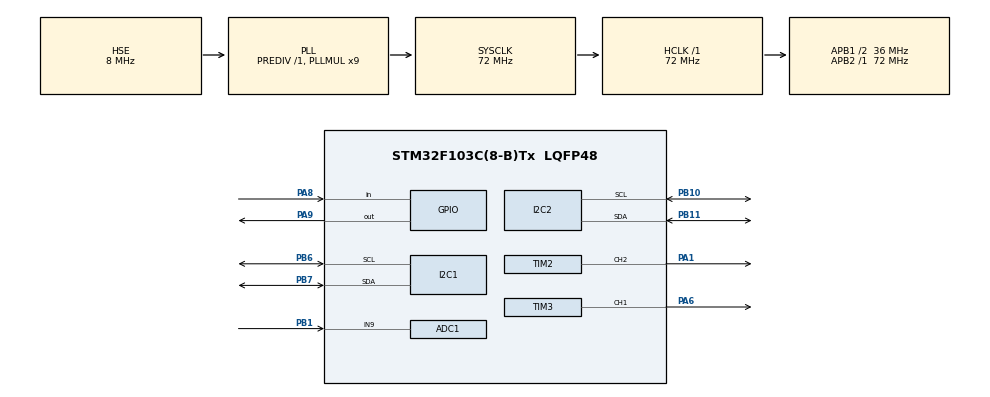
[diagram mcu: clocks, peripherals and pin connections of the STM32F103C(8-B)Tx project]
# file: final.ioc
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ADC1.Channel-1\#ChannelRegularConversion=ADC_CHANNEL_9
ADC1.ContinuousConvMode=ENABLE
ADC1.NbrOfConversionFlag=1
ADC1.Rank-1\#ChannelRegularConversion=1
ADC1.SamplingTime-1\#ChannelRegularConversion=ADC_SAMPLETIME_1CYCLE_5
ADC1.master=1
I2C2.I2C_Mode=I2C_Fast
Mcu.Family=STM32F1
Mcu.Name=STM32F103C(8-B)Tx
Mcu.Package=LQFP48
NVIC.PriorityGroup=NVIC_PRIORITYGROUP_4
PA1.Signal=S_TIM2_CH2
PA13.Mode=Serial_Wire
PA13.Signal=SYS_JTMS-SWDIO
PA14.Mode=Serial_Wire
PA14.Signal=SYS_JTCK-SWCLK
PA6.Signal=S_TIM3_CH1
PA8.Signal=GPIO_Input
PA9.Signal=GPIO_Output
PB1.Signal=ADCx_IN9
PB10.Mode=I2C
PB10.Signal=I2C2_SCL
PB11.Mode=I2C
PB11.Signal=I2C2_SDA
PB6.Mode=I2C
PB6.Signal=I2C1_SCL
PB7.Mode=I2C
PB7.Signal=I2C1_SDA
PD0-OSC_IN.Mode=HSE-External-Oscillator
PD0-OSC_IN.Signal=RCC_OSC_IN
PD1-OSC_OUT.Mode=HSE-External-Oscillator
PD1-OSC_OUT.Signal=RCC_OSC_OUT
ProjectManager.HeapSize=0x200
ProjectManager.StackSize=0x400
ProjectManager.TargetToolchain=STM32CubeIDE
RCC.ADCPresc=RCC_ADCPCLK2_DIV6
RCC.AHBFreq_Value=72000000
RCC.APB1CLKDivider=RCC_HCLK_DIV2
RCC.APB1Freq_Value=36000000
RCC.APB1TimFreq_Value=72000000
RCC.APB2Freq_Value=72000000
RCC.APB2TimFreq_Value=72000000
RCC.HCLKFreq_Value=72000000
RCC.PLLMUL=RCC_PLL_MUL9
RCC.PLLSourceVirtual=RCC_PLLSOURCE_HSE
RCC.SYSCLKFreq_VALUE=72000000
RCC.SYSCLKSource=RCC_SYSCLKSOURCE_PLLCLK
RCC.USBFreq_Value=72000000
SH.ADCx_IN9.0=ADC1_IN9,IN9
SH.S_TIM2_CH2.0=TIM2_CH2,PWM Generation2 CH2
SH.S_TIM3_CH1.0=TIM3_CH1,PWM Generation1 CH1
TIM1.Prescaler=71
TIM2.Channel-PWM\ Generation2\ CH2=TIM_CHANNEL_2
TIM2.OCMode_PWM-PWM\ Generation2\ CH2=TIM_OCMODE_PWM2
TIM2.Period=20
TIM2.Prescaler=127
TIM3.AutoReloadPreload=TIM_AUTORELOAD_PRELOAD_ENABLE
TIM3.Channel-PWM\ Generation1\ CH1=TIM_CHANNEL_1
VP_TIM1_VS_ClockSourceINT.Mode=Internal
VP_TIM2_VS_ClockSourceINT.Mode=Internal
board=custom

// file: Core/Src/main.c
/* USER CODE BEGIN Header */
/**
  ******************************************************************************
  * @file           : main.c
  * @brief          : Main program body
  ******************************************************************************
  * @attention
  *
  * Copyright (c) 2025 STMicroelectronics.
  * All rights reserved.
  *
  * This software is licensed under terms that can be found in the LICENSE file
  * in the root directory of this software component.
  * If no LICENSE file comes with this software, it is provided AS-IS.
  *
  ******************************************************************************
  */
/* USER CODE END Header */
#include "main.h"
#include "main.h"
#include "stdlib.h"
#include "stdio.h"
/* USER CODE BEGIN Includes */
#include "liquidcrystal_i2c.h"
#include "BMP180.h"
/* USER CODE END Includes */

ADC_HandleTypeDef hadc1;

I2C_HandleTypeDef hi2c1;
I2C_HandleTypeDef hi2c2;

TIM_HandleTypeDef htim1;
TIM_HandleTypeDef htim2;
TIM_HandleTypeDef htim3;

/* USER CODE BEGIN PV */
#define TRIG_PIN GPIO_PIN_9
#define TRIG_PORT GPIOA
#define ECHO_PIN GPIO_PIN_8
#define ECHO_PORT GPIOA
uint32_t pMillis;
uint32_t Value1 = 0;
uint32_t Value2 = 0;
uint16_t Distance  = 0;
uint16_t LDRValue = 0;
char results[15];
char light[15];
char suhu[15];
int change;
int intensity;
int temperature;
/* USER CODE END PV */

void SystemClock_Config(void);
static void MX_GPIO_Init(void);
static void MX_I2C1_Init(void);
static void MX_TIM2_Init(void);
static void MX_TIM1_Init(void);
static void MX_ADC1_Init(void);
static void MX_TIM3_Init(void);
static void MX_I2C2_Init(void);

int main(void)
{

  /* MCU Configuration--------------------------------------------------------*/

  /* Reset of all peripherals, Initializes the Flash interface and the Systick. */
  HAL_Init();

  /* Configure the system clock */
  SystemClock_Config();

  /* Initialize all configured peripherals */
  MX_GPIO_Init();
  MX_I2C1_Init();
  MX_TIM2_Init();
  MX_TIM1_Init();
  MX_ADC1_Init();
  MX_TIM3_Init();
  MX_I2C2_Init();
  /* USER CODE BEGIN 2 */
  HD44780_Init(2); // Set LCD
  HD44780_Clear();
  HD44780_SetCursor(0,0);  // Set Tulisan Di Kiri Atas
  HAL_TIM_Base_Start(&htim1); // Memulai Timer Menghitung HCSR04
  HAL_TIM_PWM_Start(&htim2, TIM_CHANNEL_2); // Memulai PWM Untuk Buzzer
  HAL_GPIO_WritePin(TRIG_PORT, TRIG_PIN, GPIO_PIN_RESET); // I/O untuk HCSR04
  HAL_ADC_Start(&hadc1); // Set ADC Untuk LDR
  BMP180_Start();
  /* USER CODE END 2 */

  /* Infinite loop */
  /* USER CODE BEGIN WHILE */
  /* USER CODE END 2 */

  /* Infinite loop */
  /* USER CODE BEGIN WHILE */
  while (1)
      {
        /* USER CODE END WHILE */
  	  	  // Pembacaan LDR -> ADC Oleh Yoz
  	  	  HAL_ADC_PollForConversion(&hadc1,1000);
    	  LDRValue = HAL_ADC_GetValue(&hadc1);

    	  // Pembacaan Timer HCSR04
    	  HAL_GPIO_WritePin(TRIG_PORT, TRIG_PIN, GPIO_PIN_SET);  // pull the TRIG pin HIGH
    	  __HAL_TIM_SET_COUNTER(&htim1, 0);

    	  while (__HAL_TIM_GET_COUNTER (&htim1) < 10);  // wait for 10 us
    	  HAL_GPIO_WritePin(TRIG_PORT, TRIG_PIN, GPIO_PIN_RESET);  // pull the TRIG pin low

    	  pMillis = HAL_GetTick(); // used this to avoid infinite while loop  (for timeout)
    	  // wait for the echo pin to go high
    	  while (!(HAL_GPIO_ReadPin (ECHO_PORT, ECHO_PIN)) && pMillis + 10 >  HAL_GetTick());
    	  Value1 = __HAL_TIM_GET_COUNTER (&htim1);

    	  pMillis = HAL_GetTick(); // used this to avoid infinite while loop (for timeout)
    	  	  // wait for the echo pin to go low
    	  while ((HAL_GPIO_ReadPin (ECHO_PORT, ECHO_PIN)) && pMillis + 50 > HAL_GetTick());
    	  Value2 = __HAL_TIM_GET_COUNTER (&htim1);

    	  Distance = (Value2-Value1)* 0.034/2;
    	  temperature = BMP180_GetTemp();
    	  sprintf(results, "%d", Distance);
    	  sprintf(light, "%d", LDRValue);
    	  sprintf(suhu, "%d", temperature);

    	  change = atoi(results);
    	  intensity = atoi(light);

    	  if (Distance <= 10)
    	  {
    		  for (int x = 10; x < 30; x++)
    		  {
    			  __HAL_TIM_SET_AUTORELOAD(&htim2, x*2);
    			  __HAL_TIM_SET_COMPARE(&htim2, TIM_CHANNEL_2, x);
    			  HAL_Delay(100);
    		  }
    	  }
    	  else
    	  {
    		  __HAL_TIM_SET_COMPARE(&htim2, TIM_CHANNEL_2, 0);
    	  }
    	  HD44780_PrintStr(light);
    	  HD44780_SetCursor(0,1);
    	  HD44780_PrintStr(suhu);
    	  HAL_Delay(1000);
    	  HD44780_Clear();
    /* USER CODE END 3 */
      }
  /* USER CODE END 3 */
}

void SystemClock_Config(void)
{
  RCC_OscInitTypeDef RCC_OscInitStruct = {0};
  RCC_ClkInitTypeDef RCC_ClkInitStruct = {0};
  RCC_PeriphCLKInitTypeDef PeriphClkInit = {0};

  /** Initializes the RCC Oscillators according to the specified parameters
  * in the RCC_OscInitTypeDef structure.
  */
  RCC_OscInitStruct.OscillatorType = RCC_OSCILLATORTYPE_HSE;
  RCC_OscInitStruct.HSEState = RCC_HSE_ON;
  RCC_OscInitStruct.HSEPredivValue = RCC_HSE_PREDIV_DIV1;
  RCC_OscInitStruct.HSIState = RCC_HSI_ON;
  RCC_OscInitStruct.PLL.PLLState = RCC_PLL_ON;
  RCC_OscInitStruct.PLL.PLLSource = RCC_PLLSOURCE_HSE;
  RCC_OscInitStruct.PLL.PLLMUL = RCC_PLL_MUL9;
  if (HAL_RCC_OscConfig(&RCC_OscInitStruct) != HAL_OK)
  {
    Error_Handler();
  }

  /** Initializes the CPU, AHB and APB buses clocks
  */
  RCC_ClkInitStruct.ClockType = RCC_CLOCKTYPE_HCLK|RCC_CLOCKTYPE_SYSCLK
                              |RCC_CLOCKTYPE_PCLK1|RCC_CLOCKTYPE_PCLK2;
  RCC_ClkInitStruct.SYSCLKSource = RCC_SYSCLKSOURCE_PLLCLK;
  RCC_ClkInitStruct.AHBCLKDivider = RCC_SYSCLK_DIV1;
  RCC_ClkInitStruct.APB1CLKDivider = RCC_HCLK_DIV2;
  RCC_ClkInitStruct.APB2CLKDivider = RCC_HCLK_DIV1;

  if (HAL_RCC_ClockConfig(&RCC_ClkInitStruct, FLASH_LATENCY_2) != HAL_OK)
  {
    Error_Handler();
  }
  PeriphClkInit.PeriphClockSelection = RCC_PERIPHCLK_ADC;
  PeriphClkInit.AdcClockSelection = RCC_ADCPCLK2_DIV6;
  if (HAL_RCCEx_PeriphCLKConfig(&PeriphClkInit) != HAL_OK)
  {
    Error_Handler();
  }
}

static void MX_ADC1_Init(void)
{

  ADC_ChannelConfTypeDef sConfig = {0};

  /** Common config
  */
  hadc1.Instance = ADC1;
  hadc1.Init.ScanConvMode = ADC_SCAN_DISABLE;
  hadc1.Init.ContinuousConvMode = ENABLE;
  hadc1.Init.DiscontinuousConvMode = DISABLE;
  hadc1.Init.ExternalTrigConv = ADC_SOFTWARE_START;
  hadc1.Init.DataAlign = ADC_DATAALIGN_RIGHT;
  hadc1.Init.NbrOfConversion = 1;
  if (HAL_ADC_Init(&hadc1) != HAL_OK)
  {
    Error_Handler();
  }

  /** Configure Regular Channel
  */
  sConfig.Channel = ADC_CHANNEL_9;
  sConfig.Rank = ADC_REGULAR_RANK_1;
  sConfig.SamplingTime = ADC_SAMPLETIME_1CYCLE_5;
  if (HAL_ADC_ConfigChannel(&hadc1, &sConfig) != HAL_OK)
  {
    Error_Handler();
  }

}

static void MX_I2C1_Init(void)
{

  hi2c1.Instance = I2C1;
  hi2c1.Init.ClockSpeed = 100000;
  hi2c1.Init.DutyCycle = I2C_DUTYCYCLE_2;
  hi2c1.Init.OwnAddress1 = 0;
  hi2c1.Init.AddressingMode = I2C_ADDRESSINGMODE_7BIT;
  hi2c1.Init.DualAddressMode = I2C_DUALADDRESS_DISABLE;
  hi2c1.Init.OwnAddress2 = 0;
  hi2c1.Init.GeneralCallMode = I2C_GENERALCALL_DISABLE;
  hi2c1.Init.NoStretchMode = I2C_NOSTRETCH_DISABLE;
  if (HAL_I2C_Init(&hi2c1) != HAL_OK)
  {
    Error_Handler();
  }

}

static void MX_I2C2_Init(void)
{

  hi2c2.Instance = I2C2;
  hi2c2.Init.ClockSpeed = 400000;
  hi2c2.Init.DutyCycle = I2C_DUTYCYCLE_2;
  hi2c2.Init.OwnAddress1 = 0;
  hi2c2.Init.AddressingMode = I2C_ADDRESSINGMODE_7BIT;
  hi2c2.Init.DualAddressMode = I2C_DUALADDRESS_DISABLE;
  hi2c2.Init.OwnAddress2 = 0;
  hi2c2.Init.GeneralCallMode = I2C_GENERALCALL_DISABLE;
  hi2c2.Init.NoStretchMode = I2C_NOSTRETCH_DISABLE;
  if (HAL_I2C_Init(&hi2c2) != HAL_OK)
  {
    Error_Handler();
  }

}

static void MX_TIM1_Init(void)
{

  TIM_ClockConfigTypeDef sClockSourceConfig = {0};
  TIM_MasterConfigTypeDef sMasterConfig = {0};

  htim1.Instance = TIM1;
  htim1.Init.Prescaler = 71;
  htim1.Init.CounterMode = TIM_COUNTERMODE_UP;
  htim1.Init.Period = 65535;
  htim1.Init.ClockDivision = TIM_CLOCKDIVISION_DIV1;
  htim1.Init.RepetitionCounter = 0;
  htim1.Init.AutoReloadPreload = TIM_AUTORELOAD_PRELOAD_DISABLE;
  if (HAL_TIM_Base_Init(&htim1) != HAL_OK)
  {
    Error_Handler();
  }
  sClockSourceConfig.ClockSource = TIM_CLOCKSOURCE_INTERNAL;
  if (HAL_TIM_ConfigClockSource(&htim1, &sClockSourceConfig) != HAL_OK)
  {
    Error_Handler();
  }
  sMasterConfig.MasterOutputTrigger = TIM_TRGO_RESET;
  sMasterConfig.MasterSlaveMode = TIM_MASTERSLAVEMODE_DISABLE;
  if (HAL_TIMEx_MasterConfigSynchronization(&htim1, &sMasterConfig) != HAL_OK)
  {
    Error_Handler();
  }

}

static void MX_TIM2_Init(void)
{

  TIM_ClockConfigTypeDef sClockSourceConfig = {0};
  TIM_MasterConfigTypeDef sMasterConfig = {0};
  TIM_OC_InitTypeDef sConfigOC = {0};

  htim2.Instance = TIM2;
  htim2.Init.Prescaler = 127;
  htim2.Init.CounterMode = TIM_COUNTERMODE_UP;
  htim2.Init.Period = 20;
  htim2.Init.ClockDivision = TIM_CLOCKDIVISION_DIV1;
  htim2.Init.AutoReloadPreload = TIM_AUTORELOAD_PRELOAD_DISABLE;
  if (HAL_TIM_Base_Init(&htim2) != HAL_OK)
  {
    Error_Handler();
  }
  sClockSourceConfig.ClockSource = TIM_CLOCKSOURCE_INTERNAL;
  if (HAL_TIM_ConfigClockSource(&htim2, &sClockSourceConfig) != HAL_OK)
  {
    Error_Handler();
  }
  if (HAL_TIM_PWM_Init(&htim2) != HAL_OK)
  {
    Error_Handler();
  }
  sMasterConfig.MasterOutputTrigger = TIM_TRGO_RESET;
  sMasterConfig.MasterSlaveMode = TIM_MASTERSLAVEMODE_DISABLE;
  if (HAL_TIMEx_MasterConfigSynchronization(&htim2, &sMasterConfig) != HAL_OK)
  {
    Error_Handler();
  }
  sConfigOC.OCMode = TIM_OCMODE_PWM2;
  sConfigOC.Pulse = 0;
  sConfigOC.OCPolarity = TIM_OCPOLARITY_HIGH;
  sConfigOC.OCFastMode = TIM_OCFAST_DISABLE;
  if (HAL_TIM_PWM_ConfigChannel(&htim2, &sConfigOC, TIM_CHANNEL_2) != HAL_OK)
  {
    Error_Handler();
  }
  HAL_TIM_MspPostInit(&htim2);

}

static void MX_TIM3_Init(void)
{

  TIM_MasterConfigTypeDef sMasterConfig = {0};
  TIM_OC_InitTypeDef sConfigOC = {0};

  htim3.Instance = TIM3;
  htim3.Init.Prescaler = 0;
  htim3.Init.CounterMode = TIM_COUNTERMODE_UP;
  htim3.Init.Period = 65535;
  htim3.Init.ClockDivision = TIM_CLOCKDIVISION_DIV1;
  htim3.Init.AutoReloadPreload = TIM_AUTORELOAD_PRELOAD_ENABLE;
  if (HAL_TIM_PWM_Init(&htim3) != HAL_OK)
  {
    Error_Handler();
  }
  sMasterConfig.MasterOutputTrigger = TIM_TRGO_RESET;
  sMasterConfig.MasterSlaveMode = TIM_MASTERSLAVEMODE_DISABLE;
  if (HAL_TIMEx_MasterConfigSynchronization(&htim3, &sMasterConfig) != HAL_OK)
  {
    Error_Handler();
  }
  sConfigOC.OCMode = TIM_OCMODE_PWM1;
  sConfigOC.Pulse = 0;
  sConfigOC.OCPolarity = TIM_OCPOLARITY_HIGH;
  sConfigOC.OCFastMode = TIM_OCFAST_DISABLE;
  if (HAL_TIM_PWM_ConfigChannel(&htim3, &sConfigOC, TIM_CHANNEL_1) != HAL_OK)
  {
    Error_Handler();
  }
  HAL_TIM_MspPostInit(&htim3);

}

static void MX_GPIO_Init(void)
{
  GPIO_InitTypeDef GPIO_InitStruct = {0};

  /* GPIO Ports Clock Enable */
  __HAL_RCC_GPIOD_CLK_ENABLE();
  __HAL_RCC_GPIOA_CLK_ENABLE();
  __HAL_RCC_GPIOB_CLK_ENABLE();

  /*Configure GPIO pin Output Level */
  HAL_GPIO_WritePin(GPIOA, GPIO_PIN_9, GPIO_PIN_RESET);

  /*Configure GPIO pin : PA8 */
  GPIO_InitStruct.Pin = GPIO_PIN_8;
  GPIO_InitStruct.Mode = GPIO_MODE_INPUT;
  GPIO_InitStruct.Pull = GPIO_NOPULL;
  HAL_GPIO_Init(GPIOA, &GPIO_InitStruct);

  /*Configure GPIO pin : PA9 */
  GPIO_InitStruct.Pin = GPIO_PIN_9;
  GPIO_InitStruct.Mode = GPIO_MODE_OUTPUT_PP;
  GPIO_InitStruct.Pull = GPIO_NOPULL;
  GPIO_InitStruct.Speed = GPIO_SPEED_FREQ_LOW;
  HAL_GPIO_Init(GPIOA, &GPIO_InitStruct);

}

void Error_Handler(void)
{
  __disable_irq();
  while (1)
  {
  }
}
